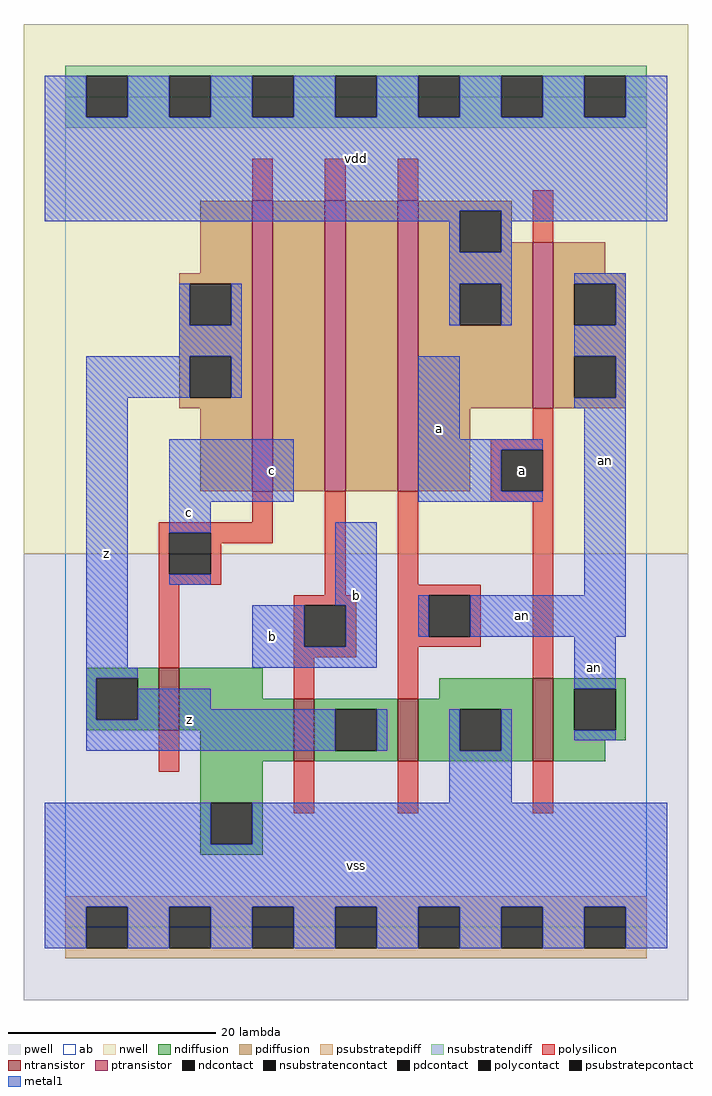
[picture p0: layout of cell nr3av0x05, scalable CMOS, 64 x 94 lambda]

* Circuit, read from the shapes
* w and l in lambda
.subckt nr3av0x05 a an b c vdd vss z
M1 vss c z vss nfet w=6 l=2
M2 z b vss vss nfet w=6 l=2
M3 vss an z vss nfet w=6 l=2
M4 an a vss vss nfet w=8 l=2
M5 n1 c z vdd pfet w=28 l=2
M6 n2 b n1 vdd pfet w=28 l=2
M7 vdd an n2 vdd pfet w=28 l=2
M8 an a vdd vdd pfet w=16 l=2
.ends

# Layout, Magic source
magic
tech scmos
<< ab >>
rect 0 0 56 80
<< pwell >>
rect -4 -7 60 36
<< nwell >>
rect -4 36 60 87
<< polysilicon >>
rect 18 70 20 74
rect 25 70 27 74
rect 32 70 34 74
rect 45 66 47 71
rect 45 47 47 50
rect 41 46 47 47
rect 41 42 42 46
rect 46 42 47 46
rect 18 39 20 42
rect 9 38 20 39
rect 9 34 10 38
rect 14 37 20 38
rect 14 34 15 37
rect 9 33 15 34
rect 9 25 11 33
rect 25 32 27 42
rect 32 33 34 42
rect 41 41 47 42
rect 32 32 40 33
rect 22 31 28 32
rect 22 27 23 31
rect 27 27 28 31
rect 22 26 28 27
rect 32 28 35 32
rect 39 28 40 32
rect 32 27 40 28
rect 22 22 24 26
rect 32 22 34 27
rect 45 24 47 41
rect 9 15 11 19
rect 22 11 24 16
rect 32 11 34 16
rect 45 11 47 16
<< ndiffusion >>
rect 2 24 9 25
rect 2 20 3 24
rect 7 20 9 24
rect 2 19 9 20
rect 11 22 19 25
rect 36 22 45 24
rect 11 19 22 22
rect 13 16 22 19
rect 24 21 32 22
rect 24 17 26 21
rect 30 17 32 21
rect 24 16 32 17
rect 34 21 45 22
rect 34 17 38 21
rect 42 17 45 21
rect 34 16 45 17
rect 47 23 54 24
rect 47 19 49 23
rect 53 19 54 23
rect 47 18 54 19
rect 47 16 52 18
rect 13 12 19 16
rect 13 8 14 12
rect 18 8 19 12
rect 13 7 19 8
<< pdiffusion >>
rect 13 63 18 70
rect 11 62 18 63
rect 11 58 12 62
rect 16 58 18 62
rect 11 55 18 58
rect 11 51 12 55
rect 16 51 18 55
rect 11 50 18 51
rect 13 42 18 50
rect 20 42 25 70
rect 27 42 32 70
rect 34 69 43 70
rect 34 65 38 69
rect 42 66 43 69
rect 42 65 45 66
rect 34 62 45 65
rect 34 58 38 62
rect 42 58 45 62
rect 34 50 45 58
rect 47 63 52 66
rect 47 62 54 63
rect 47 58 49 62
rect 53 58 54 62
rect 47 55 54 58
rect 47 51 49 55
rect 53 51 54 55
rect 47 50 54 51
rect 34 42 39 50
<< metal1 >>
rect -2 78 2 82
rect 6 78 10 82
rect 14 78 18 82
rect 22 78 26 82
rect 30 78 34 82
rect 38 78 42 82
rect 46 78 50 82
rect 54 78 58 82
rect -2 69 58 78
rect -2 68 38 69
rect 37 65 38 68
rect 42 68 58 69
rect 42 65 43 68
rect 37 62 43 65
rect 11 58 12 62
rect 16 58 17 62
rect 37 58 38 62
rect 42 58 43 62
rect 49 62 54 63
rect 53 58 54 62
rect 11 55 17 58
rect 49 55 54 58
rect 2 51 12 55
rect 16 51 17 55
rect 2 25 6 51
rect 34 47 38 55
rect 53 51 54 55
rect 49 50 54 51
rect 10 41 22 47
rect 34 46 46 47
rect 34 42 42 46
rect 34 41 46 42
rect 10 38 14 41
rect 10 33 14 34
rect 26 31 30 39
rect 50 32 54 50
rect 18 27 23 31
rect 27 27 30 31
rect 34 28 35 32
rect 39 28 54 32
rect 18 25 30 27
rect 2 24 7 25
rect 2 20 3 24
rect 49 23 53 28
rect 7 21 14 23
rect 7 20 26 21
rect 2 17 26 20
rect 30 17 31 21
rect 37 17 38 21
rect 42 17 43 21
rect 49 18 53 19
rect 37 12 43 17
rect -2 8 14 12
rect 18 8 58 12
rect -2 2 58 8
rect -2 -2 2 2
rect 6 -2 10 2
rect 14 -2 18 2
rect 22 -2 26 2
rect 30 -2 34 2
rect 38 -2 42 2
rect 46 -2 50 2
rect 54 -2 58 2
<< ntransistor >>
rect 9 19 11 25
rect 22 16 24 22
rect 32 16 34 22
rect 45 16 47 24
<< ptransistor >>
rect 18 42 20 70
rect 25 42 27 70
rect 32 42 34 70
rect 45 50 47 66
<< polycontact >>
rect 42 42 46 46
rect 10 34 14 38
rect 23 27 27 31
rect 35 28 39 32
<< ndcontact >>
rect 3 20 7 24
rect 26 17 30 21
rect 38 17 42 21
rect 49 19 53 23
rect 14 8 18 12
<< pdcontact >>
rect 12 58 16 62
rect 12 51 16 55
rect 38 65 42 69
rect 38 58 42 62
rect 49 58 53 62
rect 49 51 53 55
<< psubstratepcontact >>
rect 2 -2 6 2
rect 10 -2 14 2
rect 18 -2 22 2
rect 26 -2 30 2
rect 34 -2 38 2
rect 42 -2 46 2
rect 50 -2 54 2
<< nsubstratencontact >>
rect 2 78 6 82
rect 10 78 14 82
rect 18 78 22 82
rect 26 78 30 82
rect 34 78 38 82
rect 42 78 46 82
rect 50 78 54 82
<< psubstratepdiff >>
rect 0 2 56 3
rect 0 -2 2 2
rect 6 -2 10 2
rect 14 -2 18 2
rect 22 -2 26 2
rect 30 -2 34 2
rect 38 -2 42 2
rect 46 -2 50 2
rect 54 -2 56 2
rect 0 -3 56 -2
<< nsubstratendiff >>
rect 0 82 56 83
rect 0 78 2 82
rect 6 78 10 82
rect 14 78 18 82
rect 22 78 26 82
rect 30 78 34 82
rect 38 78 42 82
rect 46 78 50 82
rect 54 78 56 82
rect 0 77 56 78
<< labels >>
rlabel metal1 4 36 4 36 6 z
rlabel metal1 12 20 12 20 6 z
rlabel metal1 20 28 20 28 6 b
rlabel metal1 20 44 20 44 6 c
rlabel metal1 12 40 12 40 6 c
rlabel metal1 28 6 28 6 6 vss
rlabel metal1 28 32 28 32 6 b
rlabel metal1 36 48 36 48 6 a
rlabel metal1 28 74 28 74 6 vdd
rlabel metal1 51 25 51 25 6 an
rlabel metal1 44 30 44 30 6 an
rlabel polycontact 44 44 44 44 6 a
rlabel metal1 52 45 52 45 6 an
<< end >>
